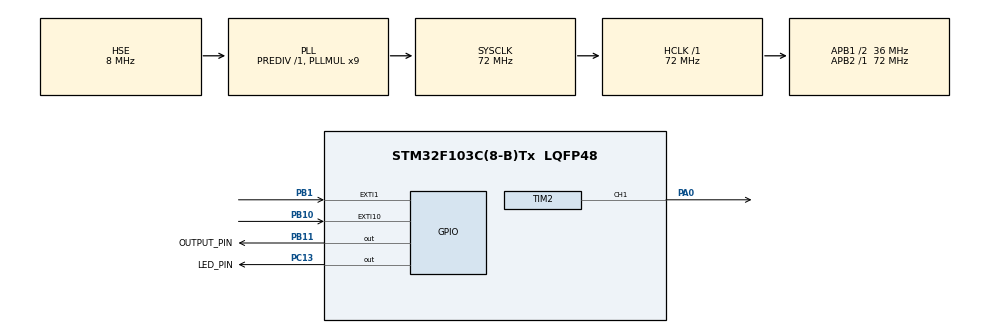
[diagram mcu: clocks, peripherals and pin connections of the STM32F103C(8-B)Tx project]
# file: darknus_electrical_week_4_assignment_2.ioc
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Mcu.Family=STM32F1
Mcu.Name=STM32F103C(8-B)Tx
Mcu.Package=LQFP48
NVIC.EXTI15_10_IRQn=true\:0\:0\:false\:false\:true\:true\:true\:true
NVIC.EXTI1_IRQn=true\:0\:0\:false\:false\:true\:true\:true\:true
NVIC.PriorityGroup=NVIC_PRIORITYGROUP_4
NVIC.TIM2_IRQn=true\:0\:0\:false\:false\:true\:true\:true\:true
PA0-WKUP.Signal=S_TIM2_CH1_ETR
PA13.Mode=Serial_Wire
PA13.Signal=SYS_JTMS-SWDIO
PA14.Mode=Serial_Wire
PA14.Signal=SYS_JTCK-SWCLK
PB1.GPIO_ModeDefaultEXTI=GPIO_MODE_IT_RISING
PB1.GPIO_PuPd=GPIO_PULLUP
PB1.Signal=GPXTI1
PB10.GPIO_ModeDefaultEXTI=GPIO_MODE_IT_RISING
PB10.GPIO_PuPd=GPIO_PULLUP
PB10.Signal=GPXTI10
PB11.GPIO_Label=OUTPUT_PIN
PB11.PinState=GPIO_PIN_SET
PB11.Signal=GPIO_Output
PC13-TAMPER-RTC.GPIO_Label=LED_PIN
PC13-TAMPER-RTC.GPIO_ModeDefaultOutputPP=GPIO_MODE_OUTPUT_PP
PC13-TAMPER-RTC.PinState=GPIO_PIN_SET
PC13-TAMPER-RTC.Signal=GPIO_Output
PD0-OSC_IN.Mode=HSE-External-Oscillator
PD0-OSC_IN.Signal=RCC_OSC_IN
PD1-OSC_OUT.Mode=HSE-External-Oscillator
PD1-OSC_OUT.Signal=RCC_OSC_OUT
ProjectManager.HeapSize=0x200
ProjectManager.StackSize=0x400
ProjectManager.TargetToolchain=STM32CubeIDE
RCC.AHBFreq_Value=72000000
RCC.APB1CLKDivider=RCC_HCLK_DIV2
RCC.APB1Freq_Value=36000000
RCC.APB1TimFreq_Value=72000000
RCC.APB2Freq_Value=72000000
RCC.APB2TimFreq_Value=72000000
RCC.HCLKFreq_Value=72000000
RCC.PLLMUL=RCC_PLL_MUL9
RCC.PLLSourceVirtual=RCC_PLLSOURCE_HSE
RCC.SYSCLKFreq_VALUE=72000000
RCC.SYSCLKSource=RCC_SYSCLKSOURCE_PLLCLK
RCC.USBFreq_Value=72000000
SH.S_TIM2_CH1_ETR.0=TIM2_CH1,PWM Generation1 CH1
TIM2.AutoReloadPreload=TIM_AUTORELOAD_PRELOAD_DISABLE
TIM2.Channel-PWM\ Generation1\ CH1=TIM_CHANNEL_1
TIM2.Period=1000-1
TIM2.Prescaler=71
VP_TIM2_VS_ClockSourceINT.Mode=Internal
board=custom

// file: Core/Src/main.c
/* USER CODE BEGIN Header */
/**
  ******************************************************************************
  * @file           : main.c
  * @brief          : Main program body
  ******************************************************************************
  * @attention
  *
  * Copyright (c) 2022 STMicroelectronics.
  * All rights reserved.
  *
  * This software is licensed under terms that can be found in the LICENSE file
  * in the root directory of this software component.
  * If no LICENSE file comes with this software, it is provided AS-IS.
  *
  ******************************************************************************
  */
/* USER CODE END Header */
#include "main.h"

TIM_HandleTypeDef htim2;

void SystemClock_Config(void);
static void MX_GPIO_Init(void);
static void MX_TIM2_Init(void);
/* USER CODE BEGIN PFP */
int state = 0;
int led_delay = 333;
int buildin_delay = 143;
uint32_t buildin_led_start = 0;
uint32_t led_start = 0;
int buildin_state = 0;
int led_state = 0;
uint32_t timer = 0;
/* USER CODE END PFP */

/* USER CODE BEGIN 0 */
void HAL_TIM_PeriodElapsedCallback(TIM_HandleTypeDef *htim)
{
  /* USER CODE BEGIN TIM2_IRQn 0 */

  /* USER CODE END TIM2_IRQn 0 */

  /* USER CODE BEGIN TIM2_IRQn 1 */
	timer++;
  /* USER CODE END TIM2_IRQn 1 */
}

void HAL_GPIO_EXTI_Callback(uint16_t GPIO_PIN)
{
	if(GPIO_PIN_10 == GPIO_PIN)
	{
		if(buildin_delay == 200)
		{
			buildin_delay = 143;
		}
		else
		{
			buildin_delay = 200;
		}
	}
	else if(GPIO_PIN_1 == GPIO_PIN)
	{
		if(led_delay == 333)
			led_delay = 143;
		else
			led_delay = 333;
	}
}
/* USER CODE END 0 */

int main(void)
{

  /* MCU Configuration--------------------------------------------------------*/

  /* Reset of all peripherals, Initializes the Flash interface and the Systick. */
  HAL_Init();

  /* Configure the system clock */
  SystemClock_Config();

  /* Initialize all configured peripherals */
  MX_GPIO_Init();
  MX_TIM2_Init();
  /* USER CODE BEGIN 2 */
  HAL_TIM_Base_Start_IT(&htim2);
  /* USER CODE END 2 */

  /* Infinite loop */
  /* USER CODE BEGIN WHILE */
  while (1)
  {
	  if(timer - buildin_led_start >= buildin_delay)
	  {
		  if(buildin_state)
			  HAL_GPIO_WritePin(OUTPUT_PIN_GPIO_Port, GPIO_PIN_11, GPIO_PIN_SET);
		  else
			  HAL_GPIO_WritePin(OUTPUT_PIN_GPIO_Port, GPIO_PIN_11, GPIO_PIN_RESET);
		  buildin_state = !buildin_state;
		  buildin_led_start = timer;
	  }
	  if(timer - led_start >= led_delay)
	  {
		  if(led_state)
			  HAL_GPIO_WritePin(LED_PIN_GPIO_Port, GPIO_PIN_13, GPIO_PIN_SET);
		  else
			  HAL_GPIO_WritePin(LED_PIN_GPIO_Port, GPIO_PIN_13, GPIO_PIN_RESET);
		  led_state = !led_state;
		  led_start = timer;
	  }
    /* USER CODE END WHILE */

  }
}

void SystemClock_Config(void)
{
  RCC_OscInitTypeDef RCC_OscInitStruct = {0};
  RCC_ClkInitTypeDef RCC_ClkInitStruct = {0};

  /** Initializes the RCC Oscillators according to the specified parameters
  * in the RCC_OscInitTypeDef structure.
  */
  RCC_OscInitStruct.OscillatorType = RCC_OSCILLATORTYPE_HSE;
  RCC_OscInitStruct.HSEState = RCC_HSE_ON;
  RCC_OscInitStruct.HSEPredivValue = RCC_HSE_PREDIV_DIV1;
  RCC_OscInitStruct.HSIState = RCC_HSI_ON;
  RCC_OscInitStruct.PLL.PLLState = RCC_PLL_ON;
  RCC_OscInitStruct.PLL.PLLSource = RCC_PLLSOURCE_HSE;
  RCC_OscInitStruct.PLL.PLLMUL = RCC_PLL_MUL9;
  if (HAL_RCC_OscConfig(&RCC_OscInitStruct) != HAL_OK)
  {
    Error_Handler();
  }

  /** Initializes the CPU, AHB and APB buses clocks
  */
  RCC_ClkInitStruct.ClockType = RCC_CLOCKTYPE_HCLK|RCC_CLOCKTYPE_SYSCLK
                              |RCC_CLOCKTYPE_PCLK1|RCC_CLOCKTYPE_PCLK2;
  RCC_ClkInitStruct.SYSCLKSource = RCC_SYSCLKSOURCE_PLLCLK;
  RCC_ClkInitStruct.AHBCLKDivider = RCC_SYSCLK_DIV1;
  RCC_ClkInitStruct.APB1CLKDivider = RCC_HCLK_DIV2;
  RCC_ClkInitStruct.APB2CLKDivider = RCC_HCLK_DIV1;

  if (HAL_RCC_ClockConfig(&RCC_ClkInitStruct, FLASH_LATENCY_2) != HAL_OK)
  {
    Error_Handler();
  }
}

static void MX_TIM2_Init(void)
{

  TIM_ClockConfigTypeDef sClockSourceConfig = {0};
  TIM_MasterConfigTypeDef sMasterConfig = {0};
  TIM_OC_InitTypeDef sConfigOC = {0};

  htim2.Instance = TIM2;
  htim2.Init.Prescaler = 71;
  htim2.Init.CounterMode = TIM_COUNTERMODE_UP;
  htim2.Init.Period = 1000-1;
  htim2.Init.ClockDivision = TIM_CLOCKDIVISION_DIV1;
  htim2.Init.AutoReloadPreload = TIM_AUTORELOAD_PRELOAD_DISABLE;
  if (HAL_TIM_Base_Init(&htim2) != HAL_OK)
  {
    Error_Handler();
  }
  sClockSourceConfig.ClockSource = TIM_CLOCKSOURCE_INTERNAL;
  if (HAL_TIM_ConfigClockSource(&htim2, &sClockSourceConfig) != HAL_OK)
  {
    Error_Handler();
  }
  if (HAL_TIM_PWM_Init(&htim2) != HAL_OK)
  {
    Error_Handler();
  }
  sMasterConfig.MasterOutputTrigger = TIM_TRGO_RESET;
  sMasterConfig.MasterSlaveMode = TIM_MASTERSLAVEMODE_DISABLE;
  if (HAL_TIMEx_MasterConfigSynchronization(&htim2, &sMasterConfig) != HAL_OK)
  {
    Error_Handler();
  }
  sConfigOC.OCMode = TIM_OCMODE_PWM1;
  sConfigOC.Pulse = 0;
  sConfigOC.OCPolarity = TIM_OCPOLARITY_HIGH;
  sConfigOC.OCFastMode = TIM_OCFAST_DISABLE;
  if (HAL_TIM_PWM_ConfigChannel(&htim2, &sConfigOC, TIM_CHANNEL_1) != HAL_OK)
  {
    Error_Handler();
  }
  HAL_TIM_MspPostInit(&htim2);

}

static void MX_GPIO_Init(void)
{
  GPIO_InitTypeDef GPIO_InitStruct = {0};

  /* GPIO Ports Clock Enable */
  __HAL_RCC_GPIOC_CLK_ENABLE();
  __HAL_RCC_GPIOD_CLK_ENABLE();
  __HAL_RCC_GPIOA_CLK_ENABLE();
  __HAL_RCC_GPIOB_CLK_ENABLE();

  /*Configure GPIO pin Output Level */
  HAL_GPIO_WritePin(LED_PIN_GPIO_Port, LED_PIN_Pin, GPIO_PIN_SET);

  /*Configure GPIO pin Output Level */
  HAL_GPIO_WritePin(OUTPUT_PIN_GPIO_Port, OUTPUT_PIN_Pin, GPIO_PIN_SET);

  /*Configure GPIO pin : LED_PIN_Pin */
  GPIO_InitStruct.Pin = LED_PIN_Pin;
  GPIO_InitStruct.Mode = GPIO_MODE_OUTPUT_PP;
  GPIO_InitStruct.Pull = GPIO_NOPULL;
  GPIO_InitStruct.Speed = GPIO_SPEED_FREQ_LOW;
  HAL_GPIO_Init(LED_PIN_GPIO_Port, &GPIO_InitStruct);

  /*Configure GPIO pins : PB1 PB10 */
  GPIO_InitStruct.Pin = GPIO_PIN_1|GPIO_PIN_10;
  GPIO_InitStruct.Mode = GPIO_MODE_IT_RISING;
  GPIO_InitStruct.Pull = GPIO_PULLUP;
  HAL_GPIO_Init(GPIOB, &GPIO_InitStruct);

  /*Configure GPIO pin : OUTPUT_PIN_Pin */
  GPIO_InitStruct.Pin = OUTPUT_PIN_Pin;
  GPIO_InitStruct.Mode = GPIO_MODE_OUTPUT_PP;
  GPIO_InitStruct.Pull = GPIO_NOPULL;
  GPIO_InitStruct.Speed = GPIO_SPEED_FREQ_LOW;
  HAL_GPIO_Init(OUTPUT_PIN_GPIO_Port, &GPIO_InitStruct);

  /* EXTI interrupt init*/
  HAL_NVIC_SetPriority(EXTI1_IRQn, 0, 0);
  HAL_NVIC_EnableIRQ(EXTI1_IRQn);

  HAL_NVIC_SetPriority(EXTI15_10_IRQn, 0, 0);
  HAL_NVIC_EnableIRQ(EXTI15_10_IRQn);

}

void Error_Handler(void)
{
  __disable_irq();
  while (1)
  {
  }
}
